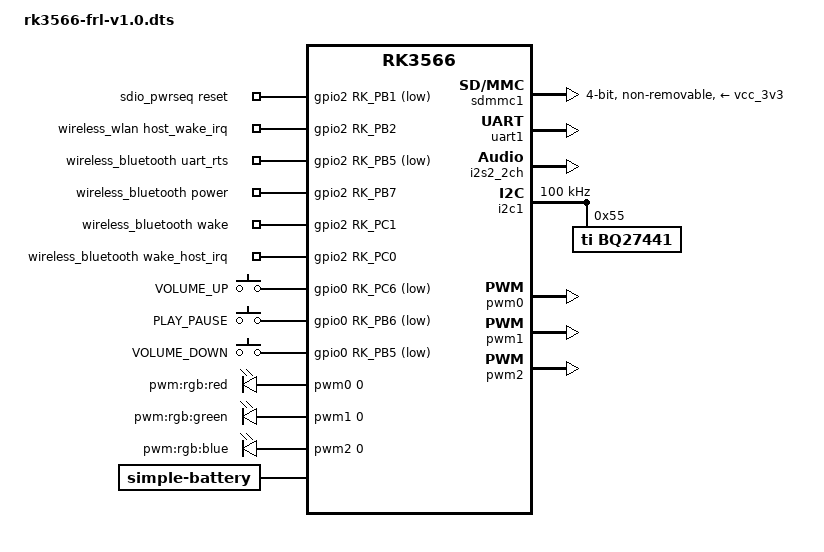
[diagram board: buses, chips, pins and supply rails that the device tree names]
// SPDX-License-Identifier: (GPL-2.0+ OR MIT)
/*
 * Copyright (c) 2024 Rockchip Electronics Co., Ltd.
 *
 */

/dts-v1/;
#include "rk3566-frl.dtsi"

/ {
	sdio_pwrseq: sdio-pwrseq {
		compatible = "mmc-pwrseq-simple";
		pinctrl-names = "default";
		pinctrl-0 = <&wifi_enable_h>;
		clocks = <&rk809 1>;
		clock-names = "ext_clock";
		reset-gpios = <&gpio2 RK_PB1 GPIO_ACTIVE_LOW>;
	};

	wireless_wlan: wireless-wlan {
		compatible = "wlan-platdata";
		wifi_chip_type = "ap6256";
		rockchip,grf = <&grf>;
		clocks = <&rk809 1>;
		clock-names = "clk_wifi";
		pinctrl-names = "default";
		pinctrl-0 = <&wifi_host_wake_irq>;
		WIFI,host_wake_irq = <&gpio2 RK_PB2 GPIO_ACTIVE_HIGH>;
		status = "okay";
	};

	wireless_bluetooth: wireless-bluetooth {
		compatible = "bluetooth-platdata";
		clocks = <&rk809 1>;
		clock-names = "ext_clock";
		uart_rts_gpios = <&gpio2 RK_PB5 GPIO_ACTIVE_LOW>;
		pinctrl-names = "default", "rts_gpio";
		pinctrl-0 = <&uart1m0_rtsn &bt_poweren &bt_wake_l &bt_host_wake_irq>;
		pinctrl-1 = <&uart1m0_rtsn_gpios>;
		BT,power_gpio    = <&gpio2 RK_PB7 GPIO_ACTIVE_HIGH>;
		BT,wake_gpio     = <&gpio2 RK_PC1 GPIO_ACTIVE_HIGH>;
		BT,wake_host_irq = <&gpio2 RK_PC0 GPIO_ACTIVE_HIGH>;
		status = "okay";
	};

	wireless_bluetooth_sound: wireless-bluetooth-sound {
		compatible = "simple-audio-card";
		simple-audio-card,format = "dsp_b";
		simple-audio-card,bitclock-inversion;
		simple-audio-card,mclk-fs = <256>;
		simple-audio-card,name = "rockchip,bt";
		#simple-audio-card,bitclock-master = <&sound2_master>;
		#simple-audio-card,frame-master = <&sound2_master>;
		status = "okay";

		simple-audio-card,cpu {
			sound-dai = <&i2s2_2ch>;
		};

		sound2_master:simple-audio-card,codec {
			#sound-dai-cells = <0>;
			sound-dai = <&wireless_bluetooth_sco>;
		};
	};

	wireless_bluetooth_sco: wireless-bluetooth-sco {
		compatible = "delta,dfbmcs320";
		#sound-dai-cells = <0>;
		status = "okay";
	};

	gpio_keys_vol: gpio-keys-vol {
		compatible = "gpio-keys";
		pinctrl-names = "default";
		pinctrl-0 = <&btn_pins_vol>;
		autorepeat;

		button-vol-up {
			gpios = <&gpio0 RK_PC6 GPIO_ACTIVE_LOW>;
			label = "VOLUME_UP";
			linux,code = <KEY_VOLUMEUP>;
			debounce-interval = <100>;
		};

		button-play-pause {
			gpios = <&gpio0 RK_PB6 GPIO_ACTIVE_LOW>;
			label = "PLAY_PAUSE";
			linux,code = <KEY_PLAYPAUSE>;
			debounce-interval = <100>;
		};

		button-vol-down {
			gpios = <&gpio0 RK_PB5 GPIO_ACTIVE_LOW>;
			label = "VOLUME_DOWN";
			linux,code = <KEY_VOLUMEDOWN>;
			debounce-interval = <100>;
		};
	};

	rgb0: rgb0 {
		compatible = "pwm-leds";
		status = "okay";

		rgb0-red {
			label = "pwm:rgb:red";
			pwms = <&pwm0 0 1000000 0>;
			max-brightness = <255>;
			linux,default-trigger = "default-on";
		};

		rgb0-green {
			label = "pwm:rgb:green";
			pwms = <&pwm1 0 1000000 0>;
			max-brightness = <255>;
			linux,default-trigger = "default-on";
		};

		rgb0-blue {
			label = "pwm:rgb:blue";
			pwms = <&pwm2 0 1000000 0>;
			max-brightness = <255>;
			linux,default-trigger = "default-on";
		};
	};

	bat: battery {
        compatible = "simple-battery";
        voltage-min-design-microvolt = <3200000>;
        energy-full-design-microwatt-hours = <2500000>;
        charge-full-design-microamp-hours = <1430000>;
	};
};

&es8388_sound {
	spk-con-gpio = <&gpio0 RK_PC3 GPIO_ACTIVE_HIGH>;
	rockchip,pre-power-on-delay-ms = <30>;
	rockchip,post-power-down-delay-ms = <40>;
	rockchip,audio-routing =
		"Headphone", "LOUT1",
		"Headphone", "ROUT1",
		"Speaker", "LOUT1",
		"Speaker", "ROUT1",
		"LINPUT1", "Main Mic",
		"RINPUT1", "Main Mic",
		"LINPUT1", "Headset Mic",
		"RINPUT1", "Headset Mic";
};

// &gpio0 {
// 	amp-en-hog {
// 		gpio-hog;
// 		gpios = <RK_PC3 GPIO_ACTIVE_HIGH>;
// 		line-name = "AMPLI-EN";
// 		output-high;
// 	};
// };

&sdmmc1 {
    bus-width = <4>;
	cap-sd-highspeed;
	cap-sdio-irq;
	keep-power-in-suspend;
	mmc-pwrseq = <&sdio_pwrseq>;
	no-mmc;
	no-sd;
	non-removable;
	pinctrl-names = "default";
	pinctrl-0 = <&sdmmc1_bus4 &sdmmc1_clk &sdmmc1_cmd>;
	sd-uhs-sdr104;
	vmmc-supply = <&vcc_3v3>;
	vqmmc-supply = <&vcc_1v8>;
	status = "okay";
};
	
&uart1 {
	status = "okay";
	pinctrl-names = "default";
	pinctrl-0 = <&uart1m0_xfer &uart1m0_ctsn>;
};

&i2s2_2ch {
	status = "okay";
	rockchip,bclk-fs = <32>;
	pinctrl-0 = <&i2s2m0_sclktx
			     &i2s2m0_lrcktx
			     &i2s2m0_sdi
			     &i2s2m0_sdo>;
};

&i2c1 {
	status = "okay";
	clock-frequency = <100000>;

	bq27441: fuel-gauge@55 {
		compatible = "ti,bq27441";
		reg = <0x55>;
		monitored-battery = <&bat>;
	};
};

&pwm0 {
	status = "okay";
	pinctrl-names = "active";
	pinctrl-0 = <&pwm0m0_pins>;
};

&pwm1 {
	status = "okay";
	pinctrl-names = "active";
	pinctrl-0 = <&pwm1m0_pins>;
};

&pwm2 {
	status = "okay";
	pinctrl-names = "active";
	pinctrl-0 = <&pwm2m0_pins>;
};

&pinctrl {
	sdio-pwrseq {
		wifi_enable_h: wifi-enable-h {
			rockchip,pins = <2 RK_PB1 RK_FUNC_GPIO &pcfg_pull_none>;
		};
	};

    wireless-wlan {
        wifi_host_wake_irq: wifi-host-wake-irq {
            rockchip,pins = <2 RK_PB2 RK_FUNC_GPIO &pcfg_pull_down>;
        };
    };

    wireless-bluetooth {
		uart1m0_rtsn_gpios: uart1m0-rtsn-gpios {
			rockchip,pins = <2 RK_PB5 RK_FUNC_GPIO &pcfg_pull_none>;
		};

		bt_poweren: bt-poweren {
			rockchip,pins = <2 RK_PB7 RK_FUNC_GPIO &pcfg_pull_none>;
		};

		bt_host_wake_irq: bt-host-wake-irq {
			rockchip,pins = <2 RK_PC0 RK_FUNC_GPIO &pcfg_pull_down>;
		};

		bt_wake_l: bt-wake-l {
			rockchip,pins = <2 RK_PC1 RK_FUNC_GPIO &pcfg_pull_none>;
		};
    };

	gpio-btns {
		btn_pins_vol: btn-pins-vol {
			rockchip,pins =
			<0 RK_PC6 RK_FUNC_GPIO &pcfg_pull_up>,
			<0 RK_PB5 RK_FUNC_GPIO &pcfg_pull_up>,
			<0 RK_PB6 RK_FUNC_GPIO &pcfg_pull_up>;
		};
	};
};
